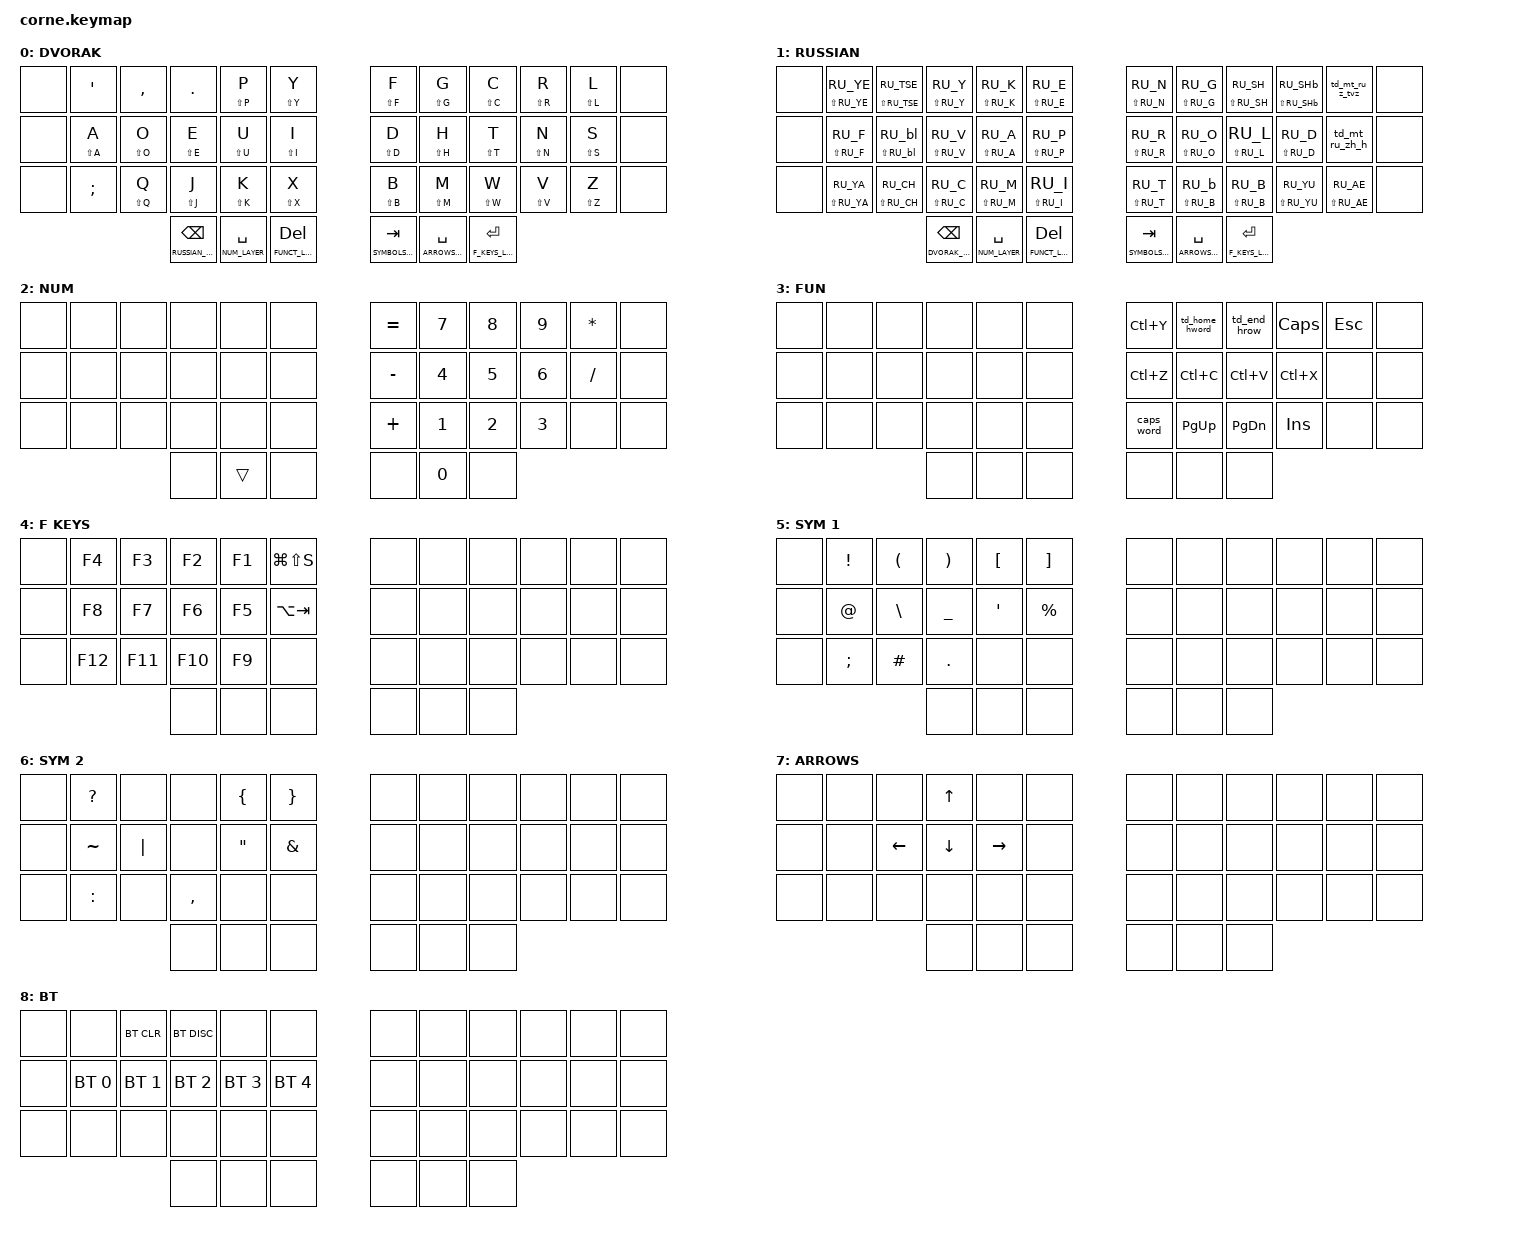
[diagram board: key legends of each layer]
/*
 * Copyright (c) 2020 The ZMK Contributors
 *
 * SPDX-License-Identifier: MIT
 */

#define DVORAK_LAYER 0
#define RUSSIAN_LAYER 1
#define NUM_LAYER 2
#define FUNCT_LAYER 3
#define F_KEYS_LAYER 4
#define SYMBOLS_1_LAYER 5
#define SYMBOLS_2_LAYER 6
#define ARROWS_LAYER 7
#define BT_LAYER 8

//#define PRT_SCR LG(LS(S))

#include <behaviors.dtsi>
#include <dt-bindings/zmk/keys.h>
#include <dt-bindings/zmk/bt.h>
#include "ru_keys.h"


&mt {
	tapping-term-ms = <200>;
	flavor = "tap-preferred";
	};

&lt {
	tapping-term-ms = <300>;
};

&sl {
        release-after-ms = <2000>;
};

/ {
        macros {
        mv_to_layer: mv_to_layer {
                compatible = "zmk,behavior-macro-one-param";
                #binding-cells = <1>;
                bindings
                        = <&macro_press &kp LCTRL>
                        , <&macro_tap &kp LSHFT>
                        , <&macro_release &kp LCTRL>
                        , <&macro_param_1to1>
                        , <&macro_tap &to MACRO_PLACEHOLDER>
                        ;
        };

        mv_to_dvorak: mv_to_dvorak {
                compatible = "zmk,behavior-macro";
                #binding-cells = <0>;
                bindings
                        = <&macro_press &kp LCTRL>
                        , <&macro_tap &kp N0>
                        , <&macro_release &kp LCTRL>
                        , <&macro_tap &to DVORAK_LAYER>
                        ;
        };

        mv_to_russian: mv_to_russian {
                compatible = "zmk,behavior-macro";
                #binding-cells = <0>;
                bindings
                        = <&macro_press &kp LCTRL>
                        , <&macro_tap &kp N1>
                        , <&macro_release &kp LCTRL>
                        , <&macro_tap &to RUSSIAN_LAYER>
                        ;
        };

        mv_from_russian: mv_from_russian {
                compatible = "zmk,behavior-macro-one-param";
                #binding-cells = <1>;
                bindings
                        = <&macro_press &kp LCTRL>
                        , <&macro_tap &kp N0>
                        , <&macro_release &kp LCTRL>
                        , <&macro_param_1to1>
                        , <&macro_press &mo MACRO_PLACEHOLDER>
                        , <&macro_pause_for_release>
                        , <&macro_param_1to1>
                        , <&macro_release &mo MACRO_PLACEHOLDER>
                        , <&macro_press &kp LCTRL>
                        , <&macro_tap &kp N1>
                        , <&macro_release &kp LCTRL>
                        ;
        };

        highlight_word: highlight_word {
                compatible = "zmk,behavior-macro";
                #binding-cells = <0>;
                bindings
                        = <&macro_press &kp LCTRL>
                        , <&macro_tap &kp LEFT_ARROW>
                        , <&macro_press &kp LSHFT>
                        , <&macro_tap &kp RIGHT_ARROW>
                        , <&macro_release &kp LSHFT>
                        , <&macro_release &kp LCTRL>
                        ;
        };

        highlight_row: highlight_row {
                compatible = "zmk,behavior-macro";
                #binding-cells = <0>;
                bindings
                        = <&macro_tap &kp HOME>
                        , <&macro_press &kp LSHFT>
                        , <&macro_tap &kp END>
                        , <&macro_release &kp LSHFT>
                        ;
        };
};

        behaviors {

                lht: lht {
                        compatible = "zmk,behavior-hold-tap";
                        #binding-cells = <2>;
                        flavor = "balanced";
                        tapping-term-ms = <200>;
                        quick-tap-ms = <100>;
                        hold-while-undecided;
                        bindings = <&mo>, <&kp>;
                };

                macros_from_rus_lt: macros_from_rus_lt {
                        compatible = "zmk,behavior-hold-tap";
                        #binding-cells = <2>;
                        flavor = "hold-preferred";
                        //hold-while-undecided;
                        tapping-term-ms = <300>;
                        quick-tap-ms = <200>;
                        bindings = <&mv_from_russian>, <&kp>;
                };

                macros_to_dvorak_tap: macros_to_dvorak_tap {
                        compatible = "zmk,behavior-hold-tap";
                        #binding-cells = <2>;
                        flavor = "tap-preferred";
                        tapping-term-ms = <300>;
                        quick-tap-ms = <200>;
                        bindings = <&mv_to_dvorak>, <&kp>;
                };

                macros_to_russian_tap: macros_to_russian_tap {
                        compatible = "zmk,behavior-hold-tap";
                        #binding-cells = <2>;
                        flavor = "tap-preferred";
                        tapping-term-ms = <300>;
                        quick-tap-ms = <200>;
                        bindings = <&mv_to_russian>, <&kp>;
                };

                td_mt_ru_zh_h: td_mt_ru_zh_h {
                        compatible = "zmk,behavior-tap-dance";
                        #binding-cells = <0>;
                        tapping-term-ms = <200>;
                        bindings = <&mt LS(RU_ZH) RU_ZH>, <&mt LS(RU_H) RU_H>;
                };

                td_mt_ru_z_tvz: td_mt_ru_z_tvz {
                        compatible = "zmk,behavior-tap-dance";
                        #binding-cells = <0>;
                        tapping-term-ms = <200>;
                        bindings = <&mt LS(RU_Z) RU_Z>, <&mt LS(RU_TVZN) RU_TVZN>;
                };

                td_comma_semicolon: td_comma_semicolon {
                        compatible = "zmk,behavior-tap-dance";
                        #binding-cells = <0>;
                        tapping-term-ms = <200>;
                        bindings = <&kp COMMA>, <&kp SEMICOLON>;
                };

                td_sym_layers: td_sym_layers {
                        compatible = "zmk,behavior-tap-dance";
                        #binding-cells = <0>;
                        tapping-term-ms = <200>;
                        bindings = <&lht SYMBOLS_1_LAYER TAB>, <&lht SYMBOLS_2_LAYER TAB>;
                };

                td_sym_layers_from_rus: td_sym_layers_from_rus {
                        compatible = "zmk,behavior-tap-dance";
                        #binding-cells = <0>;
                        tapping-term-ms = <200>;
                        bindings = <&macros_from_rus_lt SYMBOLS_1_LAYER TAB>, <&macros_from_rus_lt SYMBOLS_2_LAYER TAB>;
                };

                td_home_hword: td_home_hword {
                        compatible = "zmk,behavior-tap-dance";
                        #binding-cells = <0>;
                        tapping-term-ms = <200>;
                        bindings = <&kp HOME>, <&highlight_word>;
                };

                td_end_hrow: td_end_hrow {
                        compatible = "zmk,behavior-tap-dance";
                        #binding-cells = <0>;
                        tapping-term-ms = <200>;
                        bindings = <&kp END>, <&highlight_row>;
                };
        };

        combos {
                compatible = "zmk,combos";
                combo_bt_layer {
                        timeout-ms = <50>;
                        key-positions = <37 40>;
                        bindings = <&sl BT_LAYER>;
                };

                combo_sym2_layer {
                        timeout-ms = <50>;
                        layers = <DVORAK_LAYER>;
                        key-positions = <19 39>;
                        bindings = <&mo SYMBOLS_2_LAYER>;
                };

                combo_sym2_layer_from_rus {
                        timeout-ms = <50>;
                        layers = <RUSSIAN_LAYER>;
                        key-positions = <19 39>;
                        bindings = <&mv_from_russian SYMBOLS_2_LAYER>;
                };
        };

        keymap {
                compatible = "zmk,keymap";

                default_layer {
                        display-name = "DVORAK";
// -----------------------------------------------------------------------------------------
// |   |		'		|		, 	 |		.	  |	 P		p |	 Y		 y |   |  Y  |  U   |  I  |  O  |  P  | BKSP |
// |   |	A		a	|	O	   o |	E		e |	 U		u |	 I		 i |   |  H  |  J   |  K  |  L  |  ;  |  '   |
// |   |		;		|	Q	   q |	J	    j |	 K		k |	 X		 x |   |  N  |  M   |  ,  |  .  |  /  | ESC  |
//p                    							| GUI | LWR | SPC |   | ENT | RSE  | ALT |
                        bindings = <
   &none  &kp SQT 		 &kp COMMA 	  &kp DOT 	   &mt LS(P) P  &mt LS(Y) Y		&mt LS(F) F  &mt LS(G) G   &mt LS(C) C  &mt LS(R) R  &mt LS(L) L  &none
   &none  &mt LS(A) A 	 &mt LS(O) O  &mt LS(E) E  &mt LS(U) U  &mt LS(I) I		&mt LS(D) D  &mt LS(H) H   &mt LS(T) T  &mt LS(N) N  &mt LS(S) S  &none
   &none  &kp SEMICOLON  &mt LS(Q) Q  &mt LS(J) J  &mt LS(K) K  &mt LS(X) X   	&mt LS(B) B  &mt LS(M) M   &mt LS(W) W  &mt LS(V) V  &mt LS(Z) Z  &none
         &macros_to_russian_tap RUSSIAN_LAYER  BACKSPACE  &lt NUM_LAYER  SPACE  &lt FUNCT_LAYER DEL     &lht SYMBOLS_1_LAYER TAB  &lt ARROWS_LAYER SPACE  &lt F_KEYS_LAYER ENTER
                        >;
                };
                russian_layer {
                        display-name = "RUSSIAN";
// -----------------------------------------------------------------------------------------
// |  TAB |  1  |  2  |  3  |  4  |  5  |   |  6  |  7  |  8  |  9  |  0  | BKSP |
// | BTCLR| BT1 | BT2 | BT3 | BT4 | BT5 |   | LFT | DWN |  UP | RGT |     |      |
// | SHFT |     |     |     |     |     |   |     |     |     |     |     |      |
//                    | GUI |     | SPC |   | ENT |     | ALT |
                        bindings = <
   &none    &mt LS(RU_YE) RU_YE  &mt LS(RU_TSE) RU_TSE  &mt LS(RU_Y) RU_Y  &mt LS(RU_K) RU_K   &mt LS(RU_E) RU_E   &mt LS(RU_N) RU_N   &mt LS(RU_G) RU_G   &mt LS(RU_SH) RU_SH &mt LS(RU_SHb) RU_SHb    &td_mt_ru_z_tvz &none
   &none &mt LS(RU_F) RU_F &mt LS(RU_bl) RU_bl &mt LS(RU_V) RU_V &mt LS(RU_A) RU_A &mt LS(RU_P) RU_P   &mt LS(RU_R) RU_R &mt LS(RU_O) RU_O &mt LS(RU_L) RU_L &mt LS(RU_D) RU_D &td_mt_ru_zh_h &none
   &none  &mt LS(RU_YA) RU_YA       &mt LS(RU_CH) RU_CH       &mt LS(RU_C) RU_C       &mt LS(RU_M) RU_M       &mt LS(RU_I) RU_I         &mt LS(RU_T) RU_T   &mt LS(RU_B) RU_b   &mt LS(RU_B) RU_B &mt LS(RU_YU) RU_YU    &mt LS(RU_AE) RU_AE &none
                &macros_to_dvorak_tap DVORAK_LAYER BACKSPACE     &macros_from_rus_lt NUM_LAYER  SPACE      &macros_from_rus_lt FUNCT_LAYER DEL      &macros_from_rus_lt SYMBOLS_1_LAYER TAB  &macros_from_rus_lt ARROWS_LAYER SPACE   &macros_from_rus_lt F_KEYS_LAYER ENTER
                        >;
                };

		num_layer {
                        display-name = "NUM";
// -----------------------------------------------------------------------------------------
// |  TAB |  !  |  @  |  #  |  $  |  %  |   |  ^  |  &  |  *  |  (  |  )  | BKSP |
// | CTRL |     |     |     |     |     |   |  -  |  =  |  [  |  ]  |  \  |  `   |
// | SHFT |     |     |     |     |     |   |  _  |  +  |  {  |  }  | "|" |  ~   |
//                    | GUI |     | SPC |   | ENT |     | ALT |
                        bindings = <
   &none &none &none &none &none &none   	&kp EQUAL &kp N7  &kp N8 &kp N9 &kp ASTERISK &none
   &none &none &none &none &none &none      &kp MINUS &kp N4 &kp N5  &kp N6 &kp SLASH &none
   &none &none &none &none &none &none      &kp PLUS &kp N1  &kp N2  &kp N3 &none &none
                        &none &trans   &none   &none   &kp N0    &none
                        >;
                };

		functional_layer {
                        display-name = "FUN";
// -----------------------------------------------------------------------------------------
// |  TAB |  !  |  @  |  #  |  $  |  %  |   |  ^  |  &  |  *  |  (  |  )  | BKSP |
// | CTRL |     |     |     |     |     |   |  -  |  =  |  [  |  ]  |  \  |  `   |
// | SHFT |     |     |     |     |     |   |  _  |  +  |  {  |  }  | "|" |  ~   |
//                    | GUI |     | SPC |   | ENT |     | ALT |
                        bindings = <
   &none &none &none &none &none &none   	&kp LC(Y) &td_home_hword  &td_end_hrow &kp CAPS &kp ESC &none
   &none &none &none &none &none &none      &kp LC(Z) &kp LC(C) &kp LC(V)  &kp LC(X) &none &none
   &none &none &none &none &none &none      &caps_word &kp PAGE_UP  &kp PAGE_DOWN  &kp INSERT &none &none
                        &none &none   &none   &none   &none    &none
                        >;
                };

		f_keys_layer {
                        display-name = "F KEYS";
// -----------------------------------------------------------------------------------------
// |  TAB |  !  |  @  |  #  |  $  |  %  |   |  ^  |  &  |  *  |  (  |  )  | BKSP |
// | CTRL |     |     |     |     |     |   |  -  |  =  |  [  |  ]  |  \  |  `   |
// | SHFT |     |     |     |     |     |   |  _  |  +  |  {  |  }  | "|" |  ~   |
//                    | GUI |     | SPC |   | ENT |     | ALT |
                        bindings = <
   &none &kp F4 &kp F3 &kp F2 &kp F1 &kp LG(LS(S))   	&none &none  &none &none &none &none
   &none &kp F8 &kp F7 &kp F6 &kp F5 &kp LA(TAB)      &none &none &none  &none &none &none
   &none &kp F12 &kp F11 &kp F10 &kp F9 &none      &none &none  &none  &none &none &none
                        &none &none   &none   &none   &none    &none
                        >;
                };

		symbols_1_layer {
                        display-name = "SYM 1";
// -----------------------------------------------------------------------------------------
// |  TAB |  !  |  @  |  #  |  $  |  %  |   |  ^  |  &  |  *  |  (  |  )  | BKSP |
// | CTRL |     |     |     |     |     |   |  -  |  =  |  [  |  ]  |  \  |  `   |
// | SHFT |     |     |     |     |     |   |  _  |  +  |  {  |  }  | "|" |  ~   |
//                    | GUI |     | SPC |   | ENT |     | ALT |
                        bindings = <
   &none &kp EXCL &kp LPAR &kp RPAR &kp LBKT &kp RBKT   	&none &none  &none &none &none &none
   &none &kp AT_SIGN &kp BACKSLASH &kp UNDERSCORE &kp SQT &kp PERCENT      &none &none &none  &none &none &none
   &none &kp SEMICOLON &kp HASH &kp DOT &none &none     &none &none  &none  &none &none &none
                        &none   &none  &none  &none    &none &none
                        >;
                };

                symbols_2_layer {
                        display-name = "SYM 2";
// -----------------------------------------------------------------------------------------
// |  TAB |  !  |  @  |  #  |  $  |  %  |   |  ^  |  &  |  *  |  (  |  )  | BKSP |
// | CTRL |     |     |     |     |     |   |  -  |  =  |  [  |  ]  |  \  |  `   |
// | SHFT |     |     |     |     |     |   |  _  |  +  |  {  |  }  | "|" |  ~   |
//                    | GUI |     | SPC |   | ENT |     | ALT |
                        bindings = <
   &none &kp QMARK &none &none &kp LBRC &kp RBRC   	&none &none  &none &none &none &none
   &none &kp TILDE &kp PIPE &none &kp DQT &kp AMPERSAND      &none &none &none  &none &none &none
   &none &kp COLON &none &kp COMMA &none &none      &none &none  &none  &none &none &none
                        &none   &none   &none   &none    &none &none
                        >;
                };

		arrows_layer {
                        display-name = "ARROWS";
// -----------------------------------------------------------------------------------------
// |  TAB |  !  |  @  |  #  |  $  |  %  |   |  ^  |  &  |  *  |  (  |  )  | BKSP |
// | CTRL |     |     |     |     |     |   |  -  |  =  |  [  |  ]  |  \  |  `   |
// | SHFT |     |     |     |     |     |   |  _  |  +  |  {  |  }  | "|" |  ~   |
//                    | GUI |     | SPC |   | ENT |     | ALT |
                        bindings = <
   &none &none &none &kp UP_ARROW &none &none   	&none &none  &none &none &none &none
   &none &none &kp LEFT_ARROW &kp DOWN_ARROW &kp RIGHT_ARROW &none      &none &none &none  &none &none &none
   &none &none &none &none &none &none      &none &none  &none  &none &none &none
                        &none &none   &none   &none   &none    &none
                        >;
                };

                bluetooth_layer {
                        display-name = "BT";
// -----------------------------------------------------------------------------------------
// |  TAB |  !  |  @  |  #  |  $  |  %  |   |  ^  |  &  |  *  |  (  |  )  | BKSP |
// | CTRL |     |     |     |     |     |   |  -  |  =  |  [  |  ]  |  \  |  `   |
// | SHFT |     |     |     |     |     |   |  _  |  +  |  {  |  }  | "|" |  ~   |
//                    | GUI |     | SPC |   | ENT |     | ALT |
                        bindings = <
   &none &none &bt BT_CLR &bt BT_DISC &none &none   	&none &none  &none &none &none &none
   &none &bt BT_SEL 0 &bt BT_SEL 1 &bt BT_SEL 2 &bt BT_SEL 3 &bt BT_SEL 4      &none &none &none  &none &none &none
   &none &none &none &none &none &none      &none &none  &none  &none &none &none
                        &none &none   &none   &none   &none    &none
                        >;
                };
        };
};
